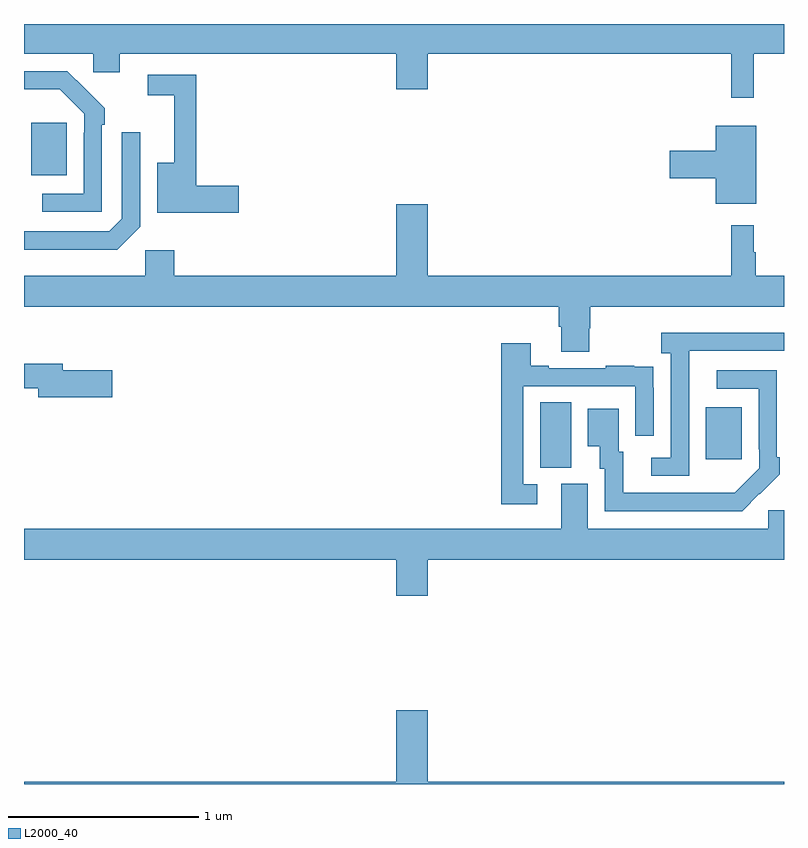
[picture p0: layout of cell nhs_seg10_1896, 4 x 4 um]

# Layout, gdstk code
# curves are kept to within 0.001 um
import gdstk
lib = gdstk.Library(unit=1e-6, precision=1e-09)
def R(c, l, rs):  # rectangles x0, y0, x1, y1
    for r in rs: c.add(gdstk.rectangle(r[:2], r[2:], *l))
def P(c, l, *ps):  # polygons
    for p in ps: c.add(gdstk.Polygon(p, *l))
L2000_40 = (2000, 40)

nhs_seg10_1896 = lib.new_cell('nhs_seg10_1896')
R(nhs_seg10_1896, L2000_40, [(213.716,1270.165,213.88,1270.508), (214.589,1270.209,214.777,1270.483), (211.037,1271.705,211.225,1271.98)])
P(nhs_seg10_1896, L2000_40, [(214.841,1272.344),(215,1272.344),(215,1272.5),(211,1272.5),(211,1272.344),(211.365,1272.344),(211.365,1272.246),(211.504,1272.246),(211.504,1272.344),(212.96,1272.344),(212.96,1272.156),(213.124,1272.156),(213.124,1272.344),(214.723,1272.344),(214.723,1272.111),(214.841,1272.111)],
  [(211.41,1271.969),(211.425,1271.969),(211.425,1272.057),(211.228,1272.252),(211,1272.252),(211,1272.156),(211.189,1272.156),(211.317,1272.027),(211.317,1271.927),(211.314,1271.927),(211.314,1271.607),(211.095,1271.607),(211.095,1271.511),(211.41,1271.511)],
  [(212.131,1271.648),(211.907,1271.648),(211.907,1272.234),(211.65,1272.234),(211.65,1272.126),(211.79,1272.126),(211.79,1271.77),(211.7,1271.77),(211.7,1271.506),(212.131,1271.506)],
  [(214.855,1271.965),(214.64,1271.965),(214.64,1271.834),(214.398,1271.834),(214.398,1271.687),(214.64,1271.687),(214.64,1271.555),(214.855,1271.555)],
  [(211.611,1271.433),(211.611,1271.929),(211.515,1271.929),(211.515,1271.475),(211.449,1271.409),(211,1271.409),(211,1271.312),(211.49,1271.312)],
  [(213.975,1270.899),(213.98,1270.899),(213.98,1271.012),(215,1271.012),(215,1271.176),(214.852,1271.176),(214.852,1271.3),(214.84,1271.3),(214.84,1271.44),(214.723,1271.44),(214.723,1271.176),(213.124,1271.176),(213.124,1271.551),(212.96,1271.551),(212.96,1271.176),(211.79,1271.176),(211.79,1271.308),(211.638,1271.308),(211.638,1271.176),(211,1271.176),(211,1271.012),(213.815,1271.012),(213.815,1270.906),(213.827,1270.906),(213.827,1270.774),(213.975,1270.774)],
  [(214.5,1270.579),(214.501,1270.579),(214.501,1270.779),(215,1270.779),(215,1270.876),(214.353,1270.876),(214.353,1270.766),(214.404,1270.766),(214.404,1270.218),(214.302,1270.218),(214.302,1270.122),(214.5,1270.122)],
  [(213.7,1270.077),(213.627,1270.077),(213.627,1270.593),(214.218,1270.593),(214.218,1270.332),(214.314,1270.332),(214.314,1270.586),(214.313,1270.586),(214.313,1270.695),(214.211,1270.695),(214.211,1270.702),(214.063,1270.702),(214.063,1270.689),(213.763,1270.689),(213.763,1270.702),(213.667,1270.702),(213.667,1270.819),(213.511,1270.819),(213.511,1269.972),(213.7,1269.972)],
  [(211.465,1270.677),(211.204,1270.677),(211.204,1270.711),(211,1270.711),(211,1270.582),(211.076,1270.582),(211.076,1270.535),(211.465,1270.535)],
  [(214.871,1270.027),(214.872,1270.026),(214.977,1270.131),(214.977,1270.219),(214.962,1270.219),(214.962,1270.677),(214.647,1270.677),(214.647,1270.581),(214.866,1270.581),(214.866,1270.261),(214.869,1270.261),(214.869,1270.161),(214.741,1270.033),(214.153,1270.032),(214.153,1270.248),(214.129,1270.248),(214.129,1270.474),(213.968,1270.474),(213.968,1270.277),(214.031,1270.277),(214.031,1270.158),(214.056,1270.158),(214.056,1269.936),(214.78,1269.936)],
  [(213.124,1269.68),(215,1269.68),(215,1269.942),(214.917,1269.942),(214.917,1269.844),(213.967,1269.844),(213.967,1270.08),(213.827,1270.08),(213.827,1269.844),(211,1269.844),(211,1269.68),(212.96,1269.68),(212.96,1269.492),(213.124,1269.492)],
  [(215,1268.512),(213.124,1268.512),(213.124,1268.887),(212.96,1268.887),(212.96,1268.512),(211,1268.512),(211,1268.5),(215,1268.5)])

lib.write_gds('nhs_seg10_1896.gds')
